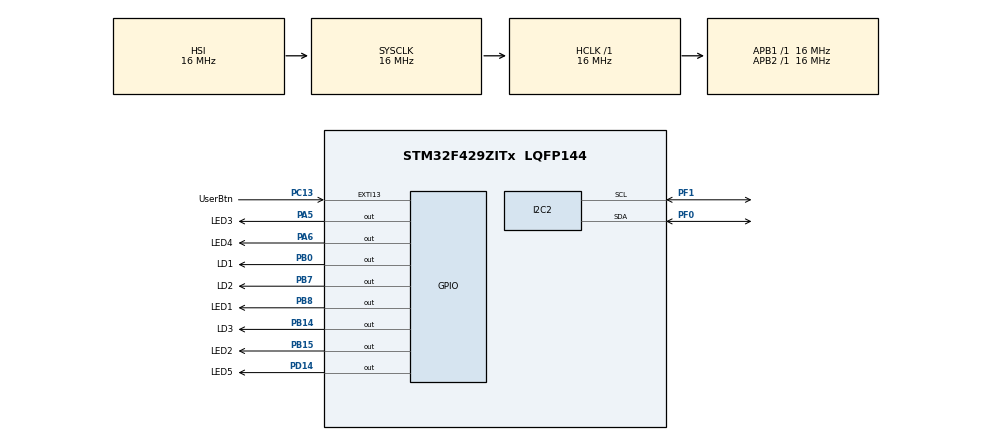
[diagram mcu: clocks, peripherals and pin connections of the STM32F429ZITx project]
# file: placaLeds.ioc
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Mcu.Family=STM32F4
RCC.CortexFreq_Value=16000000
PC13.Signal=GPXTI13
PB14.GPIO_Label=LD3
PA6.GPIO_Label=LED4
PB0.GPIO_Label=LD1
PC13.GPIO_Label=UserBtn
PB15.Signal=GPIO_Output
ProjectManager.StackSize=0x400
I2C2.OwnAddress=0x1
PF1.Mode=I2C
PB8.GPIO_Label=LED1
ProjectManager.TargetToolchain=STM32CubeIDE
RCC.LSE_VALUE=32768
RCC.AHBFreq_Value=16000000
NVIC.EXTI15_10_IRQn=true\:15\:0\:true\:false\:true\:true\:true
PB14.Signal=GPIO_Output
PA5.Signal=GPIO_Output
RCC.HSE_VALUE=25000000
board=custom
RCC.VCOOutputFreq_Value=192000000
RCC.APB2Freq_Value=16000000
PB15.GPIO_Label=LED2
VP_TIM2_VS_ClockSourceINT.Mode=Internal
PF0.GPIO_PuPdOD=GPIO_NOPULL
NVIC.TIM2_IRQn=true\:15\:0\:true\:false\:true\:true\:true
PB7.Signal=GPIO_Output
PD14.GPIO_Label=LED5
TIM2.Period=200000-1
PF1.Signal=I2C2_SCL
PF1.GPIO_PuPdOD=GPIO_NOPULL
Mcu.Name=STM32F429ZITx
PD14.Signal=GPIO_Output
PB7.GPIO_Label=LD2
RCC.SYSCLKFreq_VALUE=16000000
Mcu.Package=LQFP144
TIM2.Prescaler=16-1
PA6.Signal=GPIO_Output
PA5.GPIO_Label=LED3
ProjectManager.HeapSize=0x200
PF0.Mode=I2C
NVIC.I2C2_EV_IRQn=true\:15\:0\:true\:false\:true\:true\:true
RCC.HSI_VALUE=16000000
NVIC.PriorityGroup=NVIC_PRIORITYGROUP_4
PB8.Signal=GPIO_Output
PF0.Signal=I2C2_SDA
I2C2.GeneralCallMode=I2C_GENERALCALL_DISABLE
RCC.APB1Freq_Value=16000000
PB0.Signal=GPIO_Output
I2C2.I2C_Mode=I2C_Fast

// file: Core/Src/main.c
/* USER CODE BEGIN Header */
/**
  ******************************************************************************
  * @file           : main.c
  * @brief          : Main program body
  ******************************************************************************
  * @attention
  *
  * <h2><center>&copy; Copyright (c) 2021 STMicroelectronics.
  * All rights reserved.</center></h2>
  *
  * This software component is licensed by ST under BSD 3-Clause license,
  * the "License"; You may not use this file except in compliance with the
  * License. You may obtain a copy of the License at:
  *                        opensource.org/licenses/BSD-3-Clause
  *
  ******************************************************************************
  */
/* USER CODE END Header */
#include "main.h"

/* USER CODE BEGIN Includes */
#include "animaciones.h"
/* USER CODE END Includes */

I2C_HandleTypeDef hi2c2;

TIM_HandleTypeDef htim2;

/* USER CODE BEGIN PV */
uint8_t i2cData; // Datos leídos en I2C
GPIO_TypeDef* LEDS_GPIO_Ports[] = {LED1_GPIO_Port, LED2_GPIO_Port, LED3_GPIO_Port, LED4_GPIO_Port, LED5_GPIO_Port};
uint16_t LEDS_Pins[] = {LED1_Pin, LED2_Pin, LED3_Pin, LED4_Pin, LED5_Pin};
volatile uint8_t efectoActual = 0xFF; // 0xFF valor de "no efecto" 0 es el primero, 1 el segundo ...
volatile uint8_t etapa; // Etapa de encendido de cada LED
volatile uint8_t alarma = 0; // Para saber si tenemos que avisar de la alarma
/* USER CODE END PV */

void SystemClock_Config(void);
static void MX_GPIO_Init(void);
static void MX_I2C2_Init(void);
static void MX_TIM2_Init(void);

int main(void)
{

  /* MCU Configuration--------------------------------------------------------*/

  /* Reset of all peripherals, Initializes the Flash interface and the Systick. */
  HAL_Init();

  /* Configure the system clock */
  SystemClock_Config();

  /* Initialize all configured peripherals */
  MX_GPIO_Init();
  MX_I2C2_Init();
  MX_TIM2_Init();
  /* USER CODE BEGIN 2 */
  HAL_TIM_Base_Start_IT(&htim2);
  /* USER CODE END 2 */

  /* Infinite loop */
  /* USER CODE BEGIN WHILE */
  while (1)
  {
    HAL_I2C_Slave_Receive_IT(&hi2c2, &i2cData, 1);
    /* USER CODE END WHILE */

  }
}

void SystemClock_Config(void)
{
  RCC_OscInitTypeDef RCC_OscInitStruct = {0};
  RCC_ClkInitTypeDef RCC_ClkInitStruct = {0};

  /** Configure the main internal regulator output voltage
  */
  __HAL_RCC_PWR_CLK_ENABLE();
  __HAL_PWR_VOLTAGESCALING_CONFIG(PWR_REGULATOR_VOLTAGE_SCALE3);
  /** Initializes the RCC Oscillators according to the specified parameters
  * in the RCC_OscInitTypeDef structure.
  */
  RCC_OscInitStruct.OscillatorType = RCC_OSCILLATORTYPE_HSI;
  RCC_OscInitStruct.HSIState = RCC_HSI_ON;
  RCC_OscInitStruct.HSICalibrationValue = RCC_HSICALIBRATION_DEFAULT;
  RCC_OscInitStruct.PLL.PLLState = RCC_PLL_NONE;
  if (HAL_RCC_OscConfig(&RCC_OscInitStruct) != HAL_OK)
  {
    Error_Handler();
  }
  /** Initializes the CPU, AHB and APB buses clocks
  */
  RCC_ClkInitStruct.ClockType = RCC_CLOCKTYPE_HCLK|RCC_CLOCKTYPE_SYSCLK
                              |RCC_CLOCKTYPE_PCLK1|RCC_CLOCKTYPE_PCLK2;
  RCC_ClkInitStruct.SYSCLKSource = RCC_SYSCLKSOURCE_HSI;
  RCC_ClkInitStruct.AHBCLKDivider = RCC_SYSCLK_DIV1;
  RCC_ClkInitStruct.APB1CLKDivider = RCC_HCLK_DIV1;
  RCC_ClkInitStruct.APB2CLKDivider = RCC_HCLK_DIV1;

  if (HAL_RCC_ClockConfig(&RCC_ClkInitStruct, FLASH_LATENCY_0) != HAL_OK)
  {
    Error_Handler();
  }
}

static void MX_I2C2_Init(void)
{

  hi2c2.Instance = I2C2;
  hi2c2.Init.ClockSpeed = 400000;
  hi2c2.Init.DutyCycle = I2C_DUTYCYCLE_2;
  hi2c2.Init.OwnAddress1 = 2;
  hi2c2.Init.AddressingMode = I2C_ADDRESSINGMODE_7BIT;
  hi2c2.Init.DualAddressMode = I2C_DUALADDRESS_DISABLE;
  hi2c2.Init.OwnAddress2 = 0;
  hi2c2.Init.GeneralCallMode = I2C_GENERALCALL_DISABLE;
  hi2c2.Init.NoStretchMode = I2C_NOSTRETCH_DISABLE;
  if (HAL_I2C_Init(&hi2c2) != HAL_OK)
  {
    Error_Handler();
  }
  /** Configure Analogue filter
  */
  if (HAL_I2CEx_ConfigAnalogFilter(&hi2c2, I2C_ANALOGFILTER_ENABLE) != HAL_OK)
  {
    Error_Handler();
  }
  /** Configure Digital filter
  */
  if (HAL_I2CEx_ConfigDigitalFilter(&hi2c2, 0) != HAL_OK)
  {
    Error_Handler();
  }

}

static void MX_TIM2_Init(void)
{

  TIM_ClockConfigTypeDef sClockSourceConfig = {0};
  TIM_MasterConfigTypeDef sMasterConfig = {0};

  htim2.Instance = TIM2;
  htim2.Init.Prescaler = 16-1;
  htim2.Init.CounterMode = TIM_COUNTERMODE_UP;
  htim2.Init.Period = 200000-1;
  htim2.Init.ClockDivision = TIM_CLOCKDIVISION_DIV1;
  htim2.Init.AutoReloadPreload = TIM_AUTORELOAD_PRELOAD_DISABLE;
  if (HAL_TIM_Base_Init(&htim2) != HAL_OK)
  {
    Error_Handler();
  }
  sClockSourceConfig.ClockSource = TIM_CLOCKSOURCE_INTERNAL;
  if (HAL_TIM_ConfigClockSource(&htim2, &sClockSourceConfig) != HAL_OK)
  {
    Error_Handler();
  }
  sMasterConfig.MasterOutputTrigger = TIM_TRGO_RESET;
  sMasterConfig.MasterSlaveMode = TIM_MASTERSLAVEMODE_DISABLE;
  if (HAL_TIMEx_MasterConfigSynchronization(&htim2, &sMasterConfig) != HAL_OK)
  {
    Error_Handler();
  }

}

static void MX_GPIO_Init(void)
{
  GPIO_InitTypeDef GPIO_InitStruct = {0};

  /* GPIO Ports Clock Enable */
  __HAL_RCC_GPIOC_CLK_ENABLE();
  __HAL_RCC_GPIOF_CLK_ENABLE();
  __HAL_RCC_GPIOA_CLK_ENABLE();
  __HAL_RCC_GPIOB_CLK_ENABLE();
  __HAL_RCC_GPIOD_CLK_ENABLE();

  /*Configure GPIO pin Output Level */
  HAL_GPIO_WritePin(GPIOA, LED3_Pin|LED4_Pin, GPIO_PIN_RESET);

  /*Configure GPIO pin Output Level */
  HAL_GPIO_WritePin(GPIOB, LD1_Pin|LD3_Pin|LED2_Pin|LD2_Pin
                          |LED1_Pin, GPIO_PIN_RESET);

  /*Configure GPIO pin Output Level */
  HAL_GPIO_WritePin(LED5_GPIO_Port, LED5_Pin, GPIO_PIN_RESET);

  /*Configure GPIO pin : UserBtn_Pin */
  GPIO_InitStruct.Pin = UserBtn_Pin;
  GPIO_InitStruct.Mode = GPIO_MODE_IT_RISING;
  GPIO_InitStruct.Pull = GPIO_NOPULL;
  HAL_GPIO_Init(UserBtn_GPIO_Port, &GPIO_InitStruct);

  /*Configure GPIO pins : LED3_Pin LED4_Pin */
  GPIO_InitStruct.Pin = LED3_Pin|LED4_Pin;
  GPIO_InitStruct.Mode = GPIO_MODE_OUTPUT_PP;
  GPIO_InitStruct.Pull = GPIO_NOPULL;
  GPIO_InitStruct.Speed = GPIO_SPEED_FREQ_LOW;
  HAL_GPIO_Init(GPIOA, &GPIO_InitStruct);

  /*Configure GPIO pins : LD1_Pin LD3_Pin LED2_Pin LD2_Pin
                           LED1_Pin */
  GPIO_InitStruct.Pin = LD1_Pin|LD3_Pin|LED2_Pin|LD2_Pin
                          |LED1_Pin;
  GPIO_InitStruct.Mode = GPIO_MODE_OUTPUT_PP;
  GPIO_InitStruct.Pull = GPIO_NOPULL;
  GPIO_InitStruct.Speed = GPIO_SPEED_FREQ_LOW;
  HAL_GPIO_Init(GPIOB, &GPIO_InitStruct);

  /*Configure GPIO pin : LED5_Pin */
  GPIO_InitStruct.Pin = LED5_Pin;
  GPIO_InitStruct.Mode = GPIO_MODE_OUTPUT_PP;
  GPIO_InitStruct.Pull = GPIO_NOPULL;
  GPIO_InitStruct.Speed = GPIO_SPEED_FREQ_LOW;
  HAL_GPIO_Init(LED5_GPIO_Port, &GPIO_InitStruct);

  /* EXTI interrupt init*/
  HAL_NVIC_SetPriority(EXTI15_10_IRQn, 15, 0);
  HAL_NVIC_EnableIRQ(EXTI15_10_IRQn);

}

/* USER CODE BEGIN 4 */
//Definir el callback para cuando se reciben datos en I2C como esclavo
void HAL_I2C_SlaveRxCpltCallback(I2C_HandleTypeDef *hi2c)
{
  uint8_t tipoMensaje = (i2cData >> 0 ) & 0x3; // quedarse con los dos últimos bits del final

  uint8_t idLed = (i2cData >> 2) & 0x7; // Quedarse con los tres bits después de los dos primeros del final
  uint8_t onOff = (i2cData >> 5) & 0x1; // Quedarse con el bit después de los 5 primeros del final

  uint8_t fxId = (i2cData >> 2) & 0x3; // Quedarse con los dos bits después de los dos primeros del final

  switch (tipoMensaje) {
    case 0x0:
      /* Turn on/off single led */
      WRITE_ALL_BOARD_LEDS(GPIO_PIN_RESET); // In case that the alarm was previously triggered
      HAL_GPIO_WritePin(LEDS_GPIO_Ports[idLed], LEDS_Pins[idLed], onOff);
      break;
    case 0x1:
      /* Animation (effect) change */
      WRITE_ALL_BOARD_LEDS(GPIO_PIN_RESET); // In case that the alarm was previously triggered
      efectoActual = fxId;
      break;
    case 0x3:
      /* Alarm */
      WRITE_ALL_EXTERNAL_LEDS(GPIO_PIN_RESET); // Turn off external LEDs
      WRITE_ALL_BOARD_LEDS(GPIO_PIN_SET); // Turn on built-in LEDs as alarm indicator
      // Stop animation
      efectoActual = 0xFF;
      etapa = 0;
      HAL_Delay(1000);
      break;
    default:
      break;
  }

}

void HAL_TIM_PeriodElapsedCallback(TIM_HandleTypeDef *htim)
{
  animaciones();

  avanzar_etapa();
}

/* USER CODE END 4 */

void Error_Handler(void)
{
  __disable_irq();
  while (1)
  {
  }
}

/************************ (C) COPYRIGHT STMicroelectronics *****END OF FILE****/
